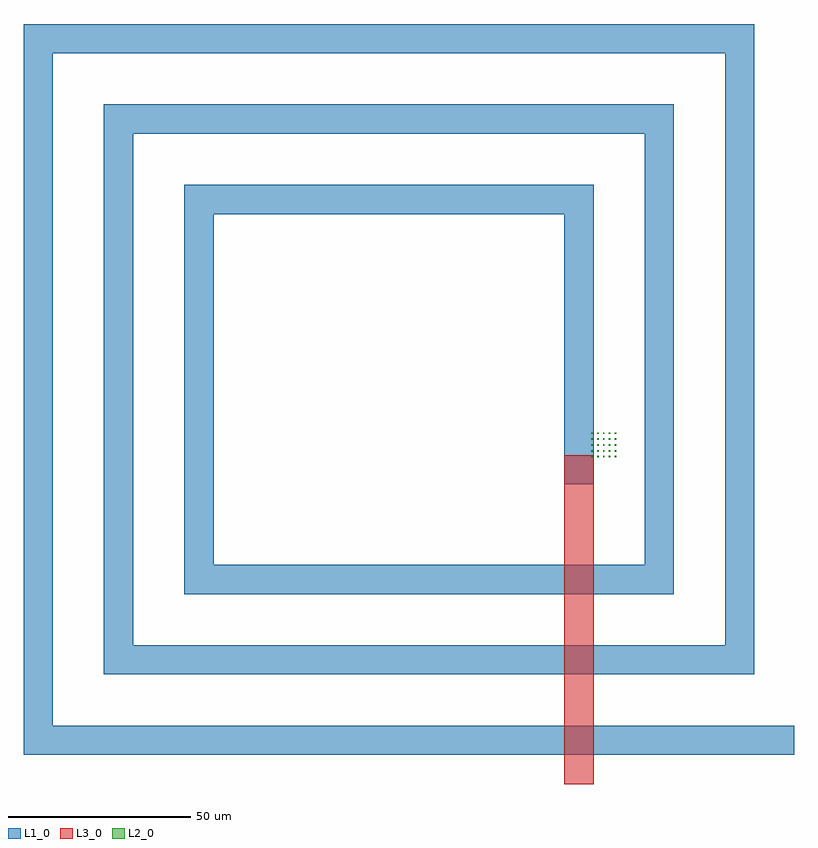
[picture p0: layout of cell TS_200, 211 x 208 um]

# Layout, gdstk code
import gdstk
lib = gdstk.Library(unit=1e-6, precision=1e-09)
def R(c, l, rs):  # rectangles x0, y0, x1, y1
    for r in rs: c.add(gdstk.rectangle(r[:2], r[2:], *l))
def A(c, l, x, y, w, h, nx, ny, dx, dy):  # array of equal rectangles
    R(c, l, [(x+i*dx, y+j*dy, x+i*dx+w, y+j*dy+h) for i in range(nx) for j in range(ny)])
def P(c, l, *ps):  # polygons
    for p in ps: c.add(gdstk.Polygon(p, *l))
L1_0 = (1, 0)
L2_0 = (2, 0)
L3_0 = (3, 0)

ts_200 = lib.new_cell('TS_200')
R(ts_200, L1_0, [(248.005,182.005,255.995,189.995)])
P(ts_200, L1_0, [(100,108),(108,116),(311,116),(311,108)],
  [(100,108),(100,308),(108,300),(108,116)],
  [(108,300),(100,308),(300,308),(292,300)],
  [(300,130),(292,138),(292,300),(300,308)],
  [(122,130),(130,138),(292,138),(300,130)],
  [(122,130),(122,286),(130,278),(130,138)],
  [(130,278),(122,286),(278,286),(270,278)],
  [(278,152),(270,160),(270,278),(278,286)],
  [(144,152),(152,160),(270,160),(278,152)],
  [(144,152),(144,264),(152,256),(152,160)],
  [(152,256),(144,264),(256,264),(248,256)],
  [(248,182),(248,256),(256,264),(256,182)])
A(ts_200, L2_0, 255.4, 189.4, 0.4, 0.4, 5, 5, 1.6, 1.6)
R(ts_200, L3_0, [(248,100,256,190), (248.005,182.005,255.995,189.995)])

lib.write_gds('TS_200.gds')
